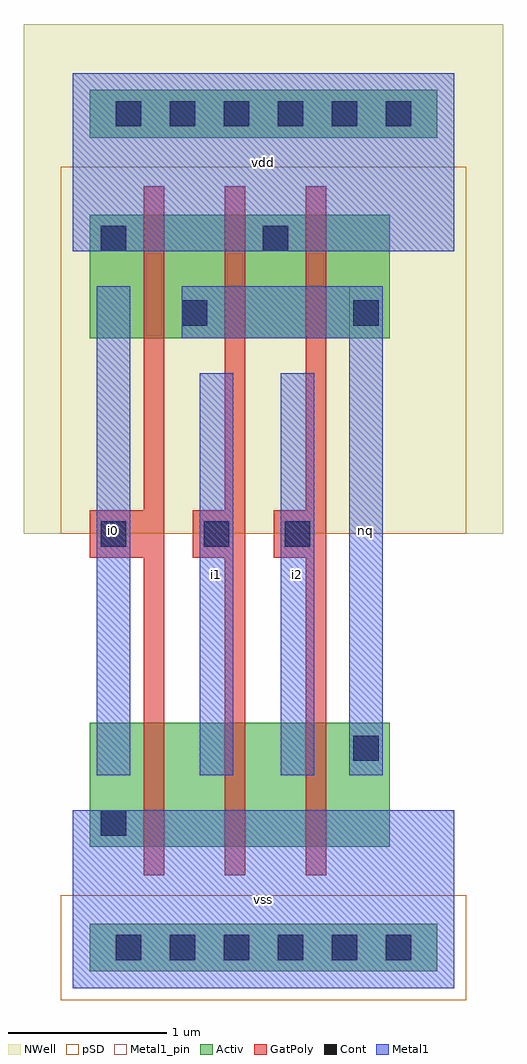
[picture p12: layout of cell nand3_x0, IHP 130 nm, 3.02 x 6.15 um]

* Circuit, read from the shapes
.subckt nand3_x0 i0 i1 i2 nq vdd vss
XM1 n1 i0 vss vss sg13_lv_nmos w=0.78u l=0.13u
XM2 n2 i1 n1 vss sg13_lv_nmos w=0.78u l=0.13u
XM3 nq i2 n2 vss sg13_lv_nmos w=0.78u l=0.13u
XM4 nq i0 vdd vdd sg13_lv_pmos w=0.78u l=0.13u
XM5 vdd i1 nq vdd sg13_lv_pmos w=0.78u l=0.13u
XM6 nq i2 vdd vdd sg13_lv_pmos w=0.78u l=0.13u
.ends

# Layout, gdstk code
import gdstk
lib = gdstk.Library(unit=1e-6, precision=1e-09)
def R(c, l, rs):  # rectangles x0, y0, x1, y1
    for r in rs: c.add(gdstk.rectangle(r[:2], r[2:], *l))
def P(c, l, *ps):  # polygons
    for p in ps: c.add(gdstk.Polygon(p, *l))
Activ = (1, 0)
GatPoly = (5, 0)
Cont = (6, 0)
Metal1 = (8, 0)
Metal1_pin = (8, 2)
pSD = (14, 0)
NWell = (31, 0)

nand3_x0 = lib.new_cell('nand3_x0')
P(nand3_x0, Activ, [(0.575,0.89),(0.575,1.67),(0.805,1.67),(0.805,0.89),(0.575,0.89)],
  [(0.725,0.89),(0.725,1.67),(0.955,1.67),(0.955,0.89),(0.725,0.89)],
  [(0.58,0.89),(0.58,1.67),(0.95,1.67),(0.95,0.89),(0.58,0.89)],
  [(0.645,0.89),(0.645,1.67),(0.885,1.67),(0.885,0.89),(0.645,0.89)],
  [(1.09,0.89),(1.09,1.67),(1.46,1.67),(1.46,0.89),(1.09,0.89)],
  [(1.235,0.89),(1.235,1.67),(1.465,1.67),(1.465,0.89),(1.235,0.89)],
  [(1.085,0.89),(1.085,1.67),(1.315,1.67),(1.315,0.89),(1.085,0.89)],
  [(1.155,0.89),(1.155,1.67),(1.395,1.67),(1.395,0.89),(1.155,0.89)],
  [(0.105,0.89),(0.105,1.67),(0.405,1.67),(0.405,0.89),(0.105,0.89)],
  [(1.465,0.89),(1.465,1.67),(1.595,1.67),(1.595,0.89),(1.465,0.89)],
  [(0.2,0.105),(0.2,0.405),(2.2,0.405),(2.2,0.105),(0.2,0.105)],
  [(0.955,0.89),(0.955,1.67),(1.085,1.67),(1.085,0.89),(0.955,0.89)],
  [(0.445,0.89),(0.445,1.67),(0.575,1.67),(0.575,0.89),(0.445,0.89)],
  [(0.105,0.105),(0.105,0.405),(2.295,0.405),(2.295,0.105),(0.105,0.105)],
  [(0.215,0.89),(0.215,1.67),(0.445,1.67),(0.445,0.89),(0.215,0.89)],
  [(0.105,0.89),(0.105,1.67),(0.375,1.67),(0.375,0.89),(0.105,0.89)],
  [(0.105,0.89),(0.105,1.19),(0.405,1.19),(0.405,0.89),(0.105,0.89)],
  [(1.155,4.09),(1.155,4.87),(1.395,4.87),(1.395,4.09),(1.155,4.09)],
  [(1.085,4.09),(1.085,4.87),(1.315,4.87),(1.315,4.09),(1.085,4.09)],
  [(0.105,5.355),(0.105,5.655),(2.295,5.655),(2.295,5.355),(0.105,5.355)],
  [(0.215,4.09),(0.215,4.87),(0.445,4.87),(0.445,4.09),(0.215,4.09)],
  [(1.125,4.09),(1.125,4.87),(1.425,4.87),(1.425,4.09),(1.125,4.09)],
  [(0.955,4.09),(0.955,4.87),(1.085,4.87),(1.085,4.09),(0.955,4.09)],
  [(0.105,4.09),(0.105,4.87),(0.405,4.87),(0.405,4.09),(0.105,4.09)],
  [(1.125,4.57),(1.125,4.87),(1.425,4.87),(1.425,4.57),(1.125,4.57)],
  [(0.445,4.09),(0.445,4.87),(0.575,4.87),(0.575,4.09),(0.445,4.09)],
  [(1.235,4.09),(1.235,4.87),(1.465,4.87),(1.465,4.09),(1.235,4.09)],
  [(1.465,4.09),(1.465,4.87),(1.595,4.87),(1.595,4.09),(1.465,4.09)],
  [(0.2,5.355),(0.2,5.655),(2.2,5.655),(2.2,5.355),(0.2,5.355)],
  [(0.105,4.09),(0.105,4.87),(0.375,4.87),(0.375,4.09),(0.105,4.09)],
  [(0.105,4.57),(0.105,4.87),(0.405,4.87),(0.405,4.57),(0.105,4.57)],
  [(1.695,4.09),(1.695,4.87),(1.995,4.87),(1.995,4.09),(1.695,4.09)],
  [(0.575,4.09),(0.575,4.87),(0.805,4.87),(0.805,4.09),(0.575,4.09)],
  [(1.695,4.1),(1.695,4.4),(1.995,4.4),(1.995,4.1),(1.695,4.1)],
  [(1.695,1.36),(1.695,1.66),(1.995,1.66),(1.995,1.36),(1.695,1.36)],
  [(1.665,0.89),(1.665,1.67),(1.995,1.67),(1.995,0.89),(1.665,0.89)],
  [(0.615,4.1),(0.615,4.4),(0.915,4.4),(0.915,4.1),(0.615,4.1)],
  [(0.645,4.09),(0.645,4.87),(0.885,4.87),(0.885,4.09),(0.645,4.09)],
  [(1.665,4.09),(1.665,4.87),(1.995,4.87),(1.995,4.09),(1.665,4.09)],
  [(0.725,4.09),(0.725,4.87),(0.955,4.87),(0.955,4.09),(0.725,4.09)],
  [(1.595,4.09),(1.595,4.87),(1.825,4.87),(1.825,4.09),(1.595,4.09)],
  [(0.615,4.09),(0.615,4.87),(0.915,4.87),(0.915,4.09),(0.615,4.09)],
  [(1.695,0.89),(1.695,1.67),(1.995,1.67),(1.995,0.89),(1.695,0.89)],
  [(1.595,0.89),(1.595,1.67),(1.825,1.67),(1.825,0.89),(1.595,0.89)])
P(nand3_x0, GatPoly, [(1.465,0.71),(1.465,1.85),(1.595,1.85),(1.595,0.71),(1.465,0.71)],
  [(1.465,3.91),(1.465,5.05),(1.595,5.05),(1.595,3.91),(1.465,3.91)],
  [(1.465,0.71),(1.465,3.91),(1.595,3.91),(1.595,0.71),(1.465,0.71)],
  [(1.265,2.71),(1.265,3.01),(1.565,3.01),(1.565,2.71),(1.265,2.71)],
  [(1.415,2.71),(1.415,3.01),(1.53,3.01),(1.53,2.71),(1.415,2.71)],
  [(0.955,0.71),(0.955,1.85),(1.085,1.85),(1.085,0.71),(0.955,0.71)],
  [(0.905,2.71),(0.905,3.01),(1.02,3.01),(1.02,2.71),(0.905,2.71)],
  [(0.955,0.71),(0.955,3.91),(1.085,3.91),(1.085,0.71),(0.955,0.71)],
  [(0.955,3.91),(0.955,5.05),(1.085,5.05),(1.085,3.91),(0.955,3.91)],
  [(0.755,2.71),(0.755,3.01),(1.055,3.01),(1.055,2.71),(0.755,2.71)],
  [(0.445,0.71),(0.445,3.91),(0.575,3.91),(0.575,0.71),(0.445,0.71)],
  [(0.255,2.71),(0.255,3.01),(0.51,3.01),(0.51,2.71),(0.255,2.71)],
  [(0.445,0.71),(0.445,1.85),(0.575,1.85),(0.575,0.71),(0.445,0.71)],
  [(0.105,2.71),(0.105,3.01),(0.405,3.01),(0.405,2.71),(0.105,2.71)],
  [(0.445,3.91),(0.445,5.05),(0.575,5.05),(0.575,3.91),(0.445,3.91)])
P(nand3_x0, Cont, [(0.61,0.175),(0.61,0.335),(0.77,0.335),(0.77,0.175),(0.61,0.175)],
  [(0.27,0.175),(0.27,0.335),(0.43,0.335),(0.43,0.175),(0.27,0.175)],
  [(0.95,0.175),(0.95,0.335),(1.11,0.335),(1.11,0.175),(0.95,0.175)],
  [(1.29,0.175),(1.29,0.335),(1.45,0.335),(1.45,0.175),(1.29,0.175)],
  [(1.63,0.175),(1.63,0.335),(1.79,0.335),(1.79,0.175),(1.63,0.175)],
  [(1.97,0.175),(1.97,0.335),(2.13,0.335),(2.13,0.175),(1.97,0.175)],
  [(0.175,0.96),(0.175,1.12),(0.335,1.12),(0.335,0.96),(0.175,0.96)],
  [(1.195,4.64),(1.195,4.8),(1.355,4.8),(1.355,4.64),(1.195,4.64)],
  [(0.175,4.64),(0.175,4.8),(0.335,4.8),(0.335,4.64),(0.175,4.64)],
  [(0.27,5.425),(0.27,5.585),(0.43,5.585),(0.43,5.425),(0.27,5.425)],
  [(0.61,5.425),(0.61,5.585),(0.77,5.585),(0.77,5.425),(0.61,5.425)],
  [(0.95,5.425),(0.95,5.585),(1.11,5.585),(1.11,5.425),(0.95,5.425)],
  [(1.29,5.425),(1.29,5.585),(1.45,5.585),(1.45,5.425),(1.29,5.425)],
  [(1.63,5.425),(1.63,5.585),(1.79,5.585),(1.79,5.425),(1.63,5.425)],
  [(1.97,5.425),(1.97,5.585),(2.13,5.585),(2.13,5.425),(1.97,5.425)],
  [(1.765,1.43),(1.765,1.59),(1.925,1.59),(1.925,1.43),(1.765,1.43)],
  [(0.685,4.17),(0.685,4.33),(0.845,4.33),(0.845,4.17),(0.685,4.17)],
  [(1.765,4.17),(1.765,4.33),(1.925,4.33),(1.925,4.17),(1.765,4.17)],
  [(1.335,2.78),(1.335,2.94),(1.495,2.94),(1.495,2.78),(1.335,2.78)],
  [(0.825,2.78),(0.825,2.94),(0.985,2.94),(0.985,2.78),(0.825,2.78)],
  [(0.175,2.78),(0.175,2.94),(0.335,2.94),(0.335,2.78),(0.175,2.78)])
R(nand3_x0, Metal1, [(0,0,2.4,1.12), (0.15,1.34,0.36,4.42), (0.8,1.34,1.01,3.87), (1.31,1.34,1.52,3.87), (1.74,1.34,1.95,4.42), (0,4.64,2.4,5.76)])
P(nand3_x0, Metal1, [(0,0),(0,1.12),(2.4,1.12),(2.4,0),(0,0)],
  [(0.27,0.095),(0.27,0.415),(2.13,0.415),(2.13,0.095),(0.27,0.095)],
  [(0.095,0.96),(0.095,1.12),(0.415,1.12),(0.415,0.96),(0.095,0.96)],
  [(1.115,4.64),(1.115,4.8),(1.435,4.8),(1.435,4.64),(1.115,4.64)],
  [(0.095,4.64),(0.095,4.8),(0.415,4.8),(0.415,4.64),(0.095,4.64)],
  [(0,4.64),(0,5.76),(2.4,5.76),(2.4,4.64),(0,4.64)],
  [(0.27,5.345),(0.27,5.665),(2.13,5.665),(2.13,5.345),(0.27,5.345)],
  [(1.765,1.34),(1.765,1.67),(1.925,1.67),(1.925,1.34),(1.765,1.34)],
  [(0.685,4.09),(0.685,4.41),(0.845,4.41),(0.845,4.09),(0.685,4.09)],
  [(0.685,4.09),(0.685,4.42),(0.845,4.42),(0.845,4.09),(0.685,4.09)],
  [(0.765,4.09),(0.765,4.42),(1.845,4.42),(1.845,4.09),(0.765,4.09)],
  [(1.765,4.09),(1.765,4.42),(1.925,4.42),(1.925,4.09),(1.765,4.09)],
  [(1.765,4.09),(1.765,4.41),(1.925,4.41),(1.925,4.09),(1.765,4.09)],
  [(1.765,1.35),(1.765,1.67),(1.925,1.67),(1.925,1.35),(1.765,1.35)],
  [(1.74,1.34),(1.74,4.42),(1.95,4.42),(1.95,1.34),(1.74,1.34)],
  [(1.31,1.34),(1.31,3.87),(1.52,3.87),(1.52,1.34),(1.31,1.34)],
  [(1.335,2.7),(1.335,3.02),(1.495,3.02),(1.495,2.7),(1.335,2.7)],
  [(0.8,1.34),(0.8,3.87),(1.01,3.87),(1.01,1.34),(0.8,1.34)],
  [(0.825,2.7),(0.825,3.02),(0.985,3.02),(0.985,2.7),(0.825,2.7)],
  [(0.15,1.34),(0.15,4.42),(0.36,4.42),(0.36,1.34),(0.15,1.34)],
  [(0.175,2.7),(0.175,3.02),(0.335,3.02),(0.335,2.7),(0.175,2.7)])
R(nand3_x0, Metal1_pin, [(0,0,2.4,1.12), (0,0,2.4,1.12), (0.15,1.34,0.36,4.42), (0.15,1.34,0.36,4.42), (0.8,1.34,1.01,3.87), (0.8,1.34,1.01,3.87), (1.31,1.34,1.52,3.87), (1.31,1.34,1.52,3.87), (1.74,1.34,1.95,4.42), (1.74,1.34,1.95,4.42), (0,4.64,2.4,5.76), (0,4.64,2.4,5.76)])
P(nand3_x0, pSD, [(0.655,3.79),(0.655,5.17),(1.385,5.17),(1.385,3.79),(0.655,3.79)],
  [(0.435,3.8),(0.435,4.7),(1.095,4.7),(1.095,3.8),(0.435,3.8)],
  [(0.435,3.79),(0.435,5.17),(1.095,5.17),(1.095,3.79),(0.435,3.79)],
  [(0.975,3.79),(0.975,5.17),(1.575,5.17),(1.575,3.79),(0.975,3.79)],
  [(1.515,3.79),(1.515,5.17),(2.175,5.17),(2.175,3.79),(1.515,3.79)],
  [(0.545,3.91),(0.545,5.05),(1.495,5.05),(1.495,3.91),(0.545,3.91)],
  [(1.515,3.8),(1.515,4.7),(2.175,4.7),(2.175,3.8),(1.515,3.8)],
  [(1.055,3.91),(1.055,5.05),(2.005,5.05),(2.005,3.91),(1.055,3.91)],
  [(1.165,3.79),(1.165,5.17),(1.895,5.17),(1.895,3.79),(1.165,3.79)],
  [(-0.075,3.79),(-0.075,5.17),(0.555,5.17),(0.555,3.79),(-0.075,3.79)],
  [(-0.075,3.79),(-0.075,5.17),(0.585,5.17),(0.585,3.79),(-0.075,3.79)],
  [(0.035,3.91),(0.035,5.05),(0.985,5.05),(0.985,3.91),(0.035,3.91)],
  [(-0.075,4.27),(-0.075,5.17),(0.585,5.17),(0.585,4.27),(-0.075,4.27)],
  [(0.945,3.79),(0.945,5.17),(1.605,5.17),(1.605,3.79),(0.945,3.79)],
  [(0.02,-0.075),(0.02,0.585),(2.38,0.585),(2.38,-0.075),(0.02,-0.075)],
  [(-0.075,2.86),(-0.075,5.17),(2.475,5.17),(2.475,2.86),(-0.075,2.86)],
  [(0.145,3.79),(0.145,5.17),(0.875,5.17),(0.875,3.79),(0.145,3.79)],
  [(0.465,3.79),(0.465,5.17),(1.065,5.17),(1.065,3.79),(0.465,3.79)],
  [(1.485,3.79),(1.485,5.17),(2.175,5.17),(2.175,3.79),(1.485,3.79)],
  [(0.945,4.27),(0.945,5.17),(1.605,5.17),(1.605,4.27),(0.945,4.27)],
  [(-0.075,-0.075),(-0.075,0.585),(2.475,0.585),(2.475,-0.075),(-0.075,-0.075)])
P(nand3_x0, NWell, [(-0.11,5.045),(-0.11,5.965),(2.51,5.965),(2.51,5.045),(-0.11,5.045)],
  [(0.335,3.78),(0.335,5.18),(1.195,5.18),(1.195,3.78),(0.335,3.78)],
  [(1.385,3.79),(1.385,4.71),(2.305,4.71),(2.305,3.79),(1.385,3.79)],
  [(0.415,3.78),(0.415,5.18),(1.625,5.18),(1.625,3.78),(0.415,3.78)],
  [(0.305,3.78),(0.305,5.18),(1.225,5.18),(1.225,3.78),(0.305,3.78)],
  [(-0.205,3.78),(-0.205,5.18),(0.715,5.18),(0.715,3.78),(-0.205,3.78)],
  [(0.815,3.78),(0.815,5.18),(1.735,5.18),(1.735,3.78),(0.815,3.78)],
  [(-0.205,5.045),(-0.205,5.965),(2.605,5.965),(2.605,5.045),(-0.205,5.045)],
  [(0.845,3.78),(0.845,5.18),(1.705,5.18),(1.705,3.78),(0.845,3.78)],
  [(0.305,3.79),(0.305,4.71),(1.225,4.71),(1.225,3.79),(0.305,3.79)],
  [(-0.31,2.86),(-0.31,6.07),(2.71,6.07),(2.71,2.86),(-0.31,2.86)],
  [(0.815,4.26),(0.815,5.18),(1.735,5.18),(1.735,4.26),(0.815,4.26)],
  [(-0.205,4.26),(-0.205,5.18),(0.715,5.18),(0.715,4.26),(-0.205,4.26)],
  [(-0.205,3.78),(-0.205,5.18),(0.685,5.18),(0.685,3.78),(-0.205,3.78)],
  [(1.385,3.78),(1.385,5.18),(2.305,5.18),(2.305,3.78),(1.385,3.78)],
  [(-0.095,3.78),(-0.095,5.18),(1.115,5.18),(1.115,3.78),(-0.095,3.78)],
  [(1.355,3.78),(1.355,5.18),(2.305,5.18),(2.305,3.78),(1.355,3.78)],
  [(0.925,3.78),(0.925,5.18),(2.135,5.18),(2.135,3.78),(0.925,3.78)])
nand3_x0.add(gdstk.Label('vss', (1.2,0.56), layer=8, texttype=25))
nand3_x0.add(gdstk.Label('vdd', (1.2,5.2), layer=8, texttype=25))
nand3_x0.add(gdstk.Label('nq', (1.845,2.88), layer=8, texttype=25))
nand3_x0.add(gdstk.Label('i2', (1.415,2.605), layer=8, texttype=25))
nand3_x0.add(gdstk.Label('i1', (0.905,2.605), layer=8, texttype=25))
nand3_x0.add(gdstk.Label('i0', (0.255,2.88), layer=8, texttype=25))

lib.write_gds('nand3_x0.gds')
